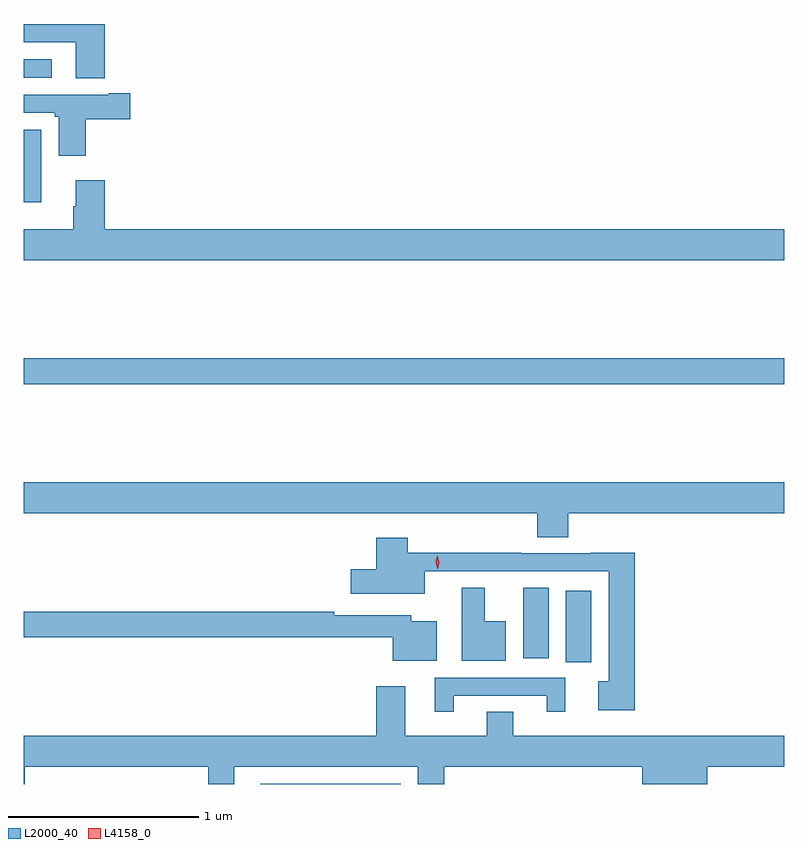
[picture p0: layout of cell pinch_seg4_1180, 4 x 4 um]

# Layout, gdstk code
import gdstk
lib = gdstk.Library(unit=1e-6, precision=1e-09)
def R(c, l, rs):  # rectangles x0, y0, x1, y1
    for r in rs: c.add(gdstk.rectangle(r[:2], r[2:], *l))
def P(c, l, *ps):  # polygons
    for p in ps: c.add(gdstk.Polygon(p, *l))
L2000_40 = (2000, 40)
L4158_0 = (4158, 0)

pinch_seg4_1180 = lib.new_cell('pinch_seg4_1180')
R(pinch_seg4_1180, L2000_40, [(553.856,766.734,553.99,767.11), (553.634,766.755,553.768,767.126), (551.006,768.196,555.006,768.332), (551.006,769.154,551.098,769.534), (551.006,769.809,551.152,769.905)])
P(pinch_seg4_1180, L2000_40, [(551.431,770.091),(551.006,770.091),(551.006,769.995),(551.279,769.995),(551.279,769.805),(551.431,769.805)],
  [(551.333,769.591),(551.566,769.591),(551.566,769.727),(551.453,769.727),(551.453,769.719),(551.006,769.719),(551.006,769.623),(551.169,769.623),(551.169,769.602),(551.189,769.602),(551.189,769.398),(551.333,769.398)],
  [(555.006,769.012),(551.432,769.012),(551.432,769.27),(551.279,769.27),(551.279,769.133),(551.267,769.133),(551.267,769.012),(551.006,769.012),(551.006,768.848),(555.006,768.848)],
  [(553.871,767.516),(555.006,767.516),(555.006,767.68),(551.006,767.68),(551.006,767.516),(553.706,767.516),(553.706,767.392),(553.871,767.392)],
  [(554.219,767.309),(553.988,767.309),(553.988,767.307),(553.622,767.307),(553.622,767.309),(553.025,767.309),(553.025,767.389),(552.86,767.389),(552.86,767.223),(552.726,767.223),(552.726,767.093),(553.114,767.093),(553.114,767.211),(554.084,767.211),(554.084,766.634),(554.028,766.634),(554.028,766.481),(554.219,766.481)],
  [(553.54,766.948),(553.432,766.948),(553.432,767.126),(553.31,767.126),(553.31,766.742),(553.54,766.742)],
  [(553.177,766.948),(553.044,766.948),(553.044,766.98),(552.638,766.98),(552.638,767),(551.006,767),(551.006,766.864),(552.948,766.864),(552.948,766.742),(553.177,766.742)],
  [(553.267,766.557),(553.757,766.557),(553.757,766.473),(553.855,766.473),(553.855,766.653),(553.169,766.653),(553.169,766.473),(553.267,766.473)],
  [(551.011,766.184),(551.976,766.184),(551.976,766.093),(552.114,766.093),(552.114,766.184),(553.079,766.184),(553.079,766.093),(553.219,766.093),(553.219,766.184),(554.259,766.184),(554.259,766.093),(554.602,766.093),(554.602,766.184),(555.006,766.184),(555.006,766.348),(553.582,766.348),(553.582,766.472),(553.442,766.472),(553.442,766.348),(553.012,766.348),(553.012,766.606),(552.86,766.606),(552.86,766.348),(551.006,766.348),(551.006,766.093),(551.011,766.093)],
  [(552.99,766.095),(552.251,766.095),(552.249,766.093),(552.99,766.093)])
P(pinch_seg4_1180, L4158_0, [(553.184,767.223),(553.184,767.223),(553.172,767.259),(553.181,767.295),(553.181,767.295),(553.181,767.295),(553.192,767.26),(553.184,767.223)])

lib.write_gds('pinch_seg4_1180.gds')
